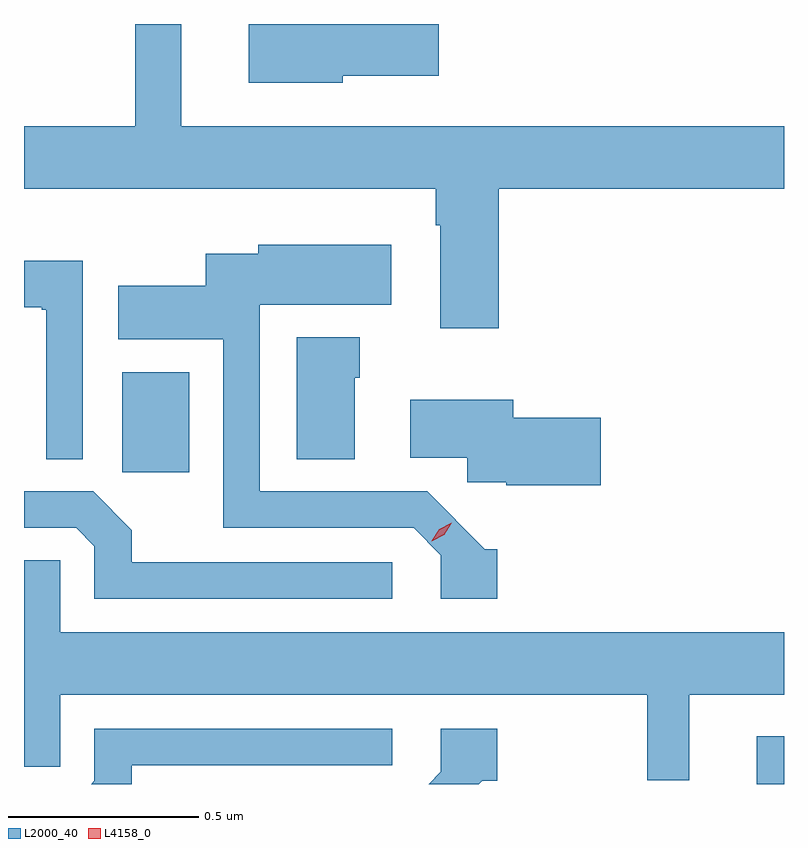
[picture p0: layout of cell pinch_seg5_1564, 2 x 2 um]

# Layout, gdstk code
import gdstk
lib = gdstk.Library(unit=1e-6, precision=1e-09)
def R(c, l, rs):  # rectangles x0, y0, x1, y1
    for r in rs: c.add(gdstk.rectangle(r[:2], r[2:], *l))
def P(c, l, *ps):  # polygons
    for p in ps: c.add(gdstk.Polygon(p, *l))
L2000_40 = (2000, 40)
L4158_0 = (4158, 0)

pinch_seg5_1564 = lib.new_cell('pinch_seg5_1564')
R(pinch_seg5_1564, L2000_40, [(335.733,835.213,335.805,835.339), (334.064,836.033,334.24,836.296)])
P(pinch_seg5_1564, L2000_40, [(335.054,836.78),(335.805,836.78),(335.805,836.944),(334.219,836.944),(334.219,837.213),(334.098,837.213),(334.098,836.944),(333.805,836.944),(333.805,836.78),(334.889,836.78),(334.889,836.684),(334.901,836.684),(334.901,836.412),(335.054,836.412)],
  [(334.644,837.077),(334.897,837.077),(334.897,837.212),(334.648,837.212),(334.648,837.213),(334.397,837.213),(334.397,837.059),(334.644,837.059)],
  [(335.05,835.831),(335.018,835.831),(334.866,835.983),(334.425,835.983),(334.425,836.474),(334.771,836.474),(334.771,836.632),(334.422,836.632),(334.422,836.608),(334.283,836.608),(334.283,836.524),(334.053,836.524),(334.053,836.384),(334.329,836.384),(334.329,835.887),(334.83,835.887),(334.902,835.815),(334.902,835.701),(335.05,835.701)],
  [(333.96,836.59),(333.805,836.59),(333.805,836.468),(333.852,836.468),(333.852,836.461),(333.863,836.461),(333.863,836.068),(333.96,836.068)],
  [(334.675,836.282),(334.688,836.282),(334.688,836.389),(334.523,836.389),(334.523,836.068),(334.675,836.068)],
  [(335.323,836.177),(335.092,836.177),(335.092,836.224),(334.821,836.224),(334.821,836.072),(334.971,836.072),(334.971,836.007),(335.074,836.007),(335.074,835.999),(335.323,835.999)],
  [(334.774,835.797),(334.089,835.797),(334.089,835.881),(333.987,835.983),(333.805,835.983),(333.805,835.887),(333.942,835.887),(333.99,835.839),(333.99,835.701),(334.774,835.701)],
  [(335.555,835.448),(335.805,835.448),(335.805,835.612),(333.9,835.612),(333.9,835.802),(333.805,835.802),(333.805,835.258),(333.9,835.258),(333.9,835.448),(335.445,835.448),(335.445,835.223),(335.555,835.223)],
  [(334.089,835.263),(334.774,835.263),(334.774,835.359),(333.99,835.359),(333.99,835.221),(333.982,835.213),(334.089,835.213)],
  [(335.011,835.222),(335.05,835.222),(335.05,835.359),(334.902,835.359),(334.902,835.245),(334.87,835.213),(335.002,835.213)])
P(pinch_seg5_1564, L4158_0, [(334.878,835.852),(334.878,835.853),(334.898,835.884),(334.931,835.901),(334.931,835.901),(334.931,835.901),(334.911,835.869),(334.878,835.852)])

lib.write_gds('pinch_seg5_1564.gds')
